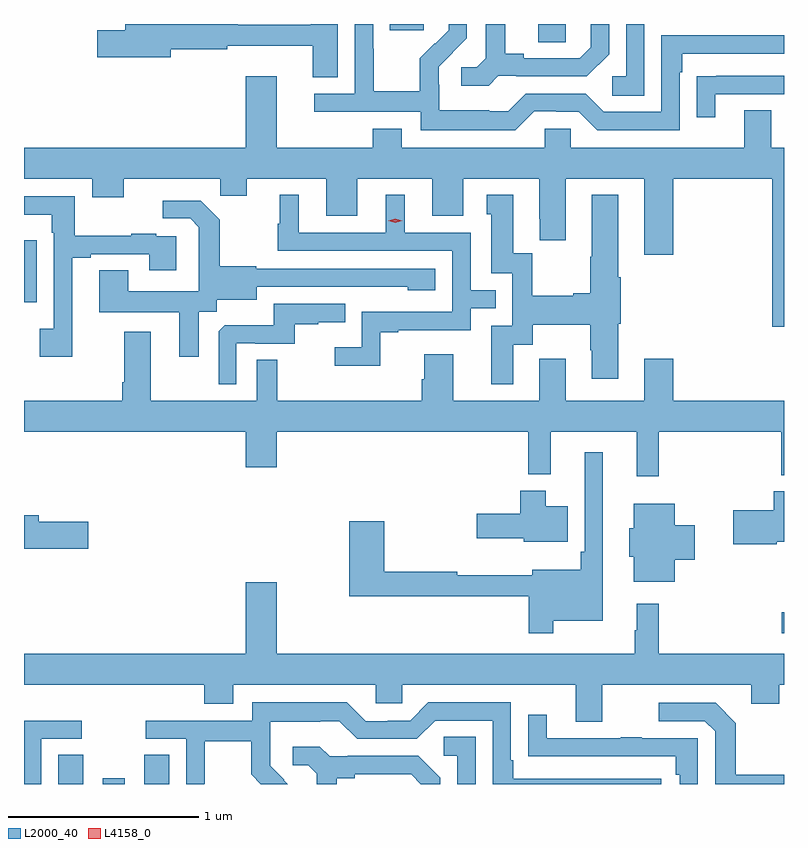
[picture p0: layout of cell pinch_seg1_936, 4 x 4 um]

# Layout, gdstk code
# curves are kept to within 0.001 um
import gdstk
lib = gdstk.Library(unit=1e-6, precision=1e-09)
def R(c, l, rs):  # rectangles x0, y0, x1, y1
    for r in rs: c.add(gdstk.rectangle(r[:2], r[2:], *l))
def P(c, l, *ps):  # polygons
    for p in ps: c.add(gdstk.Polygon(p, *l))
L2000_40 = (2000, 40)
L4158_0 = (4158, 0)

pinch_seg1_936 = lib.new_cell('pinch_seg1_936')
R(pinch_seg1_936, L2000_40, [(164.021,561.866,164.152,562.019), (164.256,561.866,164.37,561.896), (164.474,561.866,164.605,562.019), (167.83,562.659,167.841,562.771), (163.841,564.402,163.908,564.727), (166.547,565.771,166.692,565.866), (165.767,565.833,165.946,565.866)])
P(pinch_seg1_936, L2000_40, [(167.106,565.866),(167.01,565.866),(167.01,565.59),(166.938,565.59),(166.938,565.489),(167.106,565.489)],
  [(166.338,565.593),(166.432,565.593),(166.432,565.59),(166.804,565.59),(166.92,565.706),(166.92,565.866),(166.823,565.866),(166.823,565.743),(166.766,565.686),(166.471,565.686),(166.471,565.709),(166.375,565.709),(166.375,565.866),(166.271,565.866),(166.271,565.685),(166.224,565.638),(166.143,565.638),(166.143,565.541),(166.286,565.541)],
  [(165.493,565.866),(165.35,565.866),(165.35,565.861),(164.966,565.861),(164.966,565.866),(164.375,565.866),(164.375,565.832),(164.226,565.832),(164.226,565.69),(164.614,565.69),(164.614,565.732),(164.912,565.732),(164.912,565.751),(165.362,565.751),(165.362,565.585),(165.493,565.585)],
  [(166.527,565.407),(166.643,565.407),(166.643,565.404),(166.761,565.404),(166.857,565.308),(167.292,565.308),(167.292,565.613),(167.305,565.613),(167.305,565.71),(167.841,565.71),(167.841,565.806),(167.196,565.806),(167.196,565.404),(166.893,565.404),(166.797,565.5),(166.482,565.5),(166.389,565.407),(166.289,565.407),(166.289,565.411),(166.026,565.411),(166.026,565.545),(166.024,565.545),(166.024,565.642),(166.17,565.79),(166.17,565.866),(166.076,565.866),(166.076,565.832),(166.005,565.761),(166.002,565.764),(165.925,565.687),(165.925,565.513),(165.681,565.513),(165.681,565.736),(165.678,565.736),(165.678,565.866),(165.582,565.866),(165.582,565.5),(165.369,565.5),(165.369,565.404),(165.93,565.404),(165.93,565.307),(166.427,565.307)],
  [(167.479,565.497),(167.841,565.497),(167.841,565.593),(167.485,565.593),(167.485,565.592),(167.383,565.592),(167.383,565.374),(167.479,565.374)],
  [(167.773,565.411),(167.633,565.411),(167.633,565.216),(166.719,565.216),(166.719,565.314),(166.581,565.314),(166.581,565.216),(165.829,565.216),(165.829,565.315),(165.677,565.315),(165.677,565.216),(165.172,565.216),(165.172,565.591),(165.008,565.591),(165.008,565.216),(163.841,565.216),(163.841,565.052),(164.201,565.052),(164.201,564.953),(164.365,564.953),(164.365,565.052),(164.875,565.052),(164.875,564.962),(165.013,564.962),(165.013,565.052),(165.431,565.052),(165.431,564.858),(165.595,564.858),(165.595,565.052),(165.989,565.052),(165.989,564.858),(166.153,564.858),(166.153,565.052),(166.553,565.052),(166.553,564.841),(166.556,564.841),(166.556,564.729),(166.693,564.729),(166.693,565.052),(167.105,565.052),(167.105,564.651),(167.258,564.651),(167.258,565.052),(167.78,565.052),(167.78,564.273),(167.841,564.273),(167.841,565.216),(167.773,565.216)],
  [(166.417,564.178),(166.519,564.178),(166.519,564.284),(166.822,564.284),(166.822,564.15),(166.829,564.15),(166.829,564),(166.969,564),(166.969,564.288),(166.982,564.288),(166.982,564.532),(166.969,564.532),(166.969,564.967),(166.829,564.967),(166.829,564.641),(166.822,564.641),(166.822,564.449),(166.733,564.449),(166.733,564.436),(166.515,564.436),(166.515,564.659),(166.417,564.659),(166.417,564.967),(166.277,564.967),(166.277,564.864),(166.301,564.864),(166.301,564.555),(166.41,564.555),(166.41,564.279),(166.301,564.279),(166.301,563.97),(166.417,563.97)],
  [(165.717,564.243),(165.811,564.243),(165.811,564.255),(166.191,564.255),(166.191,564.369),(166.325,564.369),(166.325,564.465),(166.191,564.465),(166.191,564.768),(165.844,564.768),(165.844,564.967),(165.746,564.967),(165.746,564.768),(165.286,564.768),(165.286,564.967),(165.188,564.967),(165.188,564.816),(165.177,564.816),(165.177,564.672),(166.095,564.672),(166.095,564.351),(165.618,564.351),(165.618,564.166),(165.477,564.166),(165.477,564.068),(165.717,564.068)],
  [(164.095,564.636),(164.191,564.636),(164.191,564.654),(164.501,564.654),(164.501,564.57),(164.641,564.57),(164.641,564.75),(164.537,564.75),(164.537,564.763),(164.405,564.763),(164.405,564.752),(164.107,564.752),(164.107,564.96),(163.841,564.96),(163.841,564.863),(163.986,564.863),(163.986,564.767),(163.998,564.767),(163.998,564.262),(163.923,564.262),(163.923,564.114),(164.095,564.114)],
  [(164.761,564.352),(164.856,564.352),(164.856,564.416),(165.067,564.416),(165.067,564.483),(165.861,564.482),(165.861,564.464),(166.006,564.464),(166.006,564.579),(165.063,564.579),(165.063,564.592),(164.871,564.592),(164.871,564.837),(164.771,564.937),(164.571,564.937),(164.571,564.843),(164.715,564.843),(164.762,564.796),(164.762,564.701),(164.76,564.701),(164.76,564.46),(164.389,564.46),(164.389,564.569),(164.237,564.569),(164.237,564.35),(164.657,564.35),(164.657,564.114),(164.761,564.114)],
  [(164.958,564.186),(165.058,564.186),(165.058,564.183),(165.266,564.183),(165.266,564.285),(165.389,564.285),(165.389,564.296),(165.533,564.296),(165.533,564.393),(165.156,564.393),(165.156,564.281),(164.897,564.281),(164.865,564.249),(164.865,563.969),(164.958,563.969)],
  [(167.183,563.72),(167.827,563.72),(167.827,563.492),(167.841,563.492),(167.841,563.884),(167.258,563.884),(167.258,564.103),(167.105,564.103),(167.105,563.884),(166.693,563.884),(166.693,564.103),(166.553,564.103),(166.553,563.884),(166.099,563.884),(166.099,564.127),(165.947,564.127),(165.947,563.997),(165.935,563.997),(165.935,563.884),(165.175,563.884),(165.175,564.098),(165.066,564.098),(165.066,563.884),(164.509,563.884),(164.509,564.247),(164.369,564.247),(164.369,563.98),(164.357,563.98),(164.357,563.884),(163.841,563.884),(163.841,563.72),(165.008,563.72),(165.008,563.532),(165.172,563.532),(165.172,563.72),(166.495,563.72),(166.495,563.495),(166.613,563.495),(166.613,563.72),(167.066,563.72),(167.066,563.487),(167.183,563.487)],
  [(166.627,562.724),(166.888,562.724),(166.888,563.611),(166.791,563.611),(166.791,563.089),(166.771,563.089),(166.771,562.993),(166.517,562.993),(166.517,562.964),(166.121,562.964),(166.121,562.982),(165.737,562.982),(165.737,563.248),(165.554,563.248),(165.554,562.854),(166.498,562.854),(166.498,562.659),(166.627,562.659)],
  [(166.702,563.329),(166.588,563.329),(166.588,563.41),(166.454,563.41),(166.454,563.289),(166.224,563.289),(166.224,563.159),(166.47,563.159),(166.47,563.141),(166.702,563.141)],
  [(167.802,563.141),(167.841,563.141),(167.841,563.407),(167.786,563.407),(167.786,563.307),(167.574,563.307),(167.574,563.129),(167.802,563.129)],
  [(167.266,563.045),(167.371,563.045),(167.371,563.228),(167.266,563.228),(167.266,563.341),(167.051,563.341),(167.051,563.211),(167.027,563.211),(167.027,563.061),(167.051,563.061),(167.051,562.931),(167.266,562.931)],
  [(164.179,563.247),(163.918,563.247),(163.918,563.281),(163.841,563.281),(163.841,563.105),(164.179,563.105)],
  [(166.885,562.388),(167.669,562.388),(167.669,562.289),(167.817,562.289),(167.817,562.388),(167.841,562.388),(167.841,562.552),(167.183,562.552),(167.183,562.816),(167.066,562.816),(167.066,562.676),(167.055,562.676),(167.055,562.552),(165.172,562.552),(165.172,562.927),(165.008,562.927),(165.008,562.552),(163.841,562.552),(163.841,562.388),(164.789,562.388),(164.789,562.289),(164.941,562.289),(164.941,562.388),(165.693,562.388),(165.693,562.29),(165.831,562.29),(165.831,562.388),(166.745,562.388),(166.745,562.194),(166.885,562.194)],
  [(164.79,561.868),(164.793,561.868),(164.793,562.092),(165.037,562.092),(165.037,561.917),(165.088,561.866),(165.23,561.866),(165.209,561.887),(165.21,561.888),(165.136,561.962),(165.136,562.059),(165.138,562.059),(165.138,562.193),(165.401,562.193),(165.401,562.197),(165.501,562.197),(165.594,562.104),(165.909,562.104),(166.005,562.2),(166.308,562.2),(166.308,561.866),(167.194,561.866),(167.194,561.894),(166.417,561.894),(166.417,561.991),(166.404,561.991),(166.404,562.296),(165.969,562.296),(165.873,562.2),(165.755,562.2),(165.755,562.197),(165.639,562.197),(165.539,562.297),(165.042,562.297),(165.042,562.2),(164.481,562.2),(164.481,562.104),(164.694,562.104),(164.694,561.866),(164.79,561.866)],
  [(167.841,561.915),(167.587,561.915),(167.587,562.187),(167.481,562.293),(167.181,562.293),(167.181,562.197),(167.424,562.197),(167.478,562.143),(167.478,561.866),(167.841,561.866)],
  [(167.388,562.107),(167.093,562.107),(167.093,562.112),(166.981,562.112),(166.981,562.107),(166.591,562.107),(166.591,562.231),(166.495,562.231),(166.495,562.012),(166.597,562.012),(166.597,562.011),(167.272,562.011),(167.272,561.914),(167.292,561.914),(167.292,561.866),(167.388,561.866)],
  [(163.932,562.104),(164.146,562.104),(164.146,562.2),(163.841,562.2),(163.841,561.866),(163.932,561.866)],
  [(166.218,562.115),(166.05,562.115),(166.05,562.014),(166.122,562.014),(166.122,561.866),(166.218,561.866)],
  [(165.487,561.896),(165.583,561.896),(165.583,561.918),(165.878,561.918),(165.93,561.866),(166.032,561.866),(166.032,561.898),(165.916,562.014),(165.544,562.014),(165.544,562.011),(165.45,562.011),(165.398,562.063),(165.255,562.063),(165.255,561.966),(165.336,561.966),(165.383,561.919),(165.383,561.866),(165.487,561.866)])
P(pinch_seg1_936, L4158_0, [(165.795,564.821),(165.759,564.831),(165.759,564.831),(165.759,564.831),(165.795,564.841),(165.831,564.831),(165.831,564.831),(165.831,564.831)])

lib.write_gds('pinch_seg1_936.gds')
